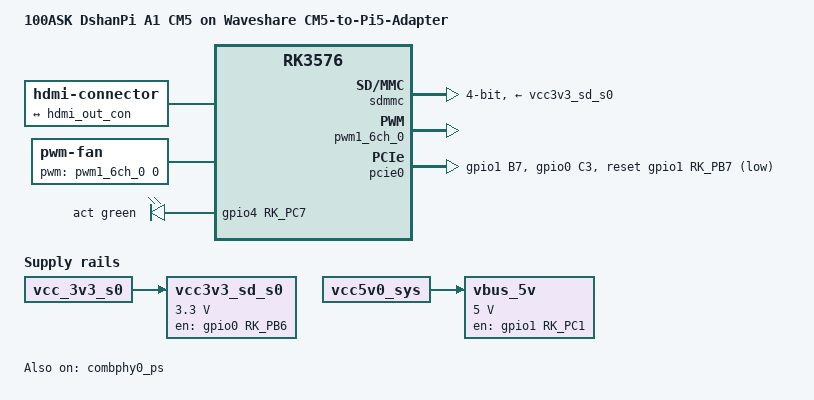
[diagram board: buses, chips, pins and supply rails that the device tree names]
// SPDX-License-Identifier: (GPL-2.0+ OR MIT)
/*
 * Copyright (c) 2026 sckiyo <sckiyo@outlook.com>
 *
 * 100ASK DshanPi A1 CM5 on the Waveshare CM5-to-Pi5-Adapter.
 * The DshanPi A1 CM5 is the core module. The Waveshare board is the carrier.
 * The module exposes three connectors, each numbered from 1.
 * CN1 and CN2 present the Raspberry Pi CM5 socket, positions 1-200.
 * CN1 holds positions 1-100. CN2 holds positions 101-200.
 * CN3 is a private module connector.
 * Some pins on CN1 and CN2 carry module lines that differ from the Raspberry Pi spec.
 *
 * The Type-C port has no PD controller and no CC pull-downs.
 * A C-to-C USB cable does not power the board.
 * Use a C-to-A USB cable or the 5 V pins on the 40-pin header.
 * The PSW button connects to CN1 pin 92.
 * The Raspberry Pi spec names pin 92 PWR_Button.
 * The module wires its reset input to that pin. The button resets the board.
 * PWRON_L is the power key line. PWRON_L sits on CN1 pin 99.
 * The Raspberry Pi spec puts PMIC_Enable on pin 99.
 * This carrier leaves pin 99 open, so the board has no power key.
 * The BOOT button pulls CN1 pin 93 low.
 * The Raspberry Pi spec names pin 93 nRPIBOOT, which is active low.
 * The module wires its active-high MASKROM input to that pin.
 * The BOOT button has no effect.
 * To enter Maskrom, run "systemctl reboot --reboot-argument=maskrom".
 * BootROM also enters Maskrom when it finds no valid boot media.
 * The carrier TF slot uses the module SDMMC0_PWREN line.
 * The RJ45 uses the on-module YT8521S PHY.
 * A CH334F USB 2.0 hub sits on the Raspberry Pi USB3-1 D+/D- pins.
 * The CH334F reset pin is not a SoC GPIO.
 * The hub feeds the lower USB 3.0 port, both USB 2.0 ports, and the audio codec.
 * The lower USB 3.0 port also uses the USB3-1 SuperSpeed pins.
 * The upper USB 3.0 port uses all the Raspberry Pi USB3-0 pins.
 * The module routes no USB to the USB3-0 pins, so the upper port stays dead.
 * GPIO1_C1 enables VBUS for the USB ports.
 * The module drives one HDMI port, on the Raspberry Pi HDMI0 pins.
 * The HDMI1 connector on this carrier has no HDMI signal.
 * The two 22-pin MIPI connectors carry the module CSI3 and DSI lanes.
 * The lanes align with the Raspberry Pi spec positions.
 * Camera and DSI support is untested, so this DT ships no nodes for them.
 * The headphone jack uses a USB audio codec on the hub.
 * This carrier wires no codec to the module audio pins.
 * The fan header PWM line is on CN1 pin 19.
 * The fan header tachometer line is on CN1 pin 16.
 * The module leaves pin 16 open.
 * A PCIe 2.0 connector uses PCIE0.
 * The activity LED is GPIO4_C7 on CN1 pin 21.
 */

/dts-v1/;

#include <dt-bindings/gpio/gpio.h>
#include <dt-bindings/leds/common.h>
#include <dt-bindings/pinctrl/rockchip.h>
#include "rk3576-dshanpi-a1-cm5.dtsi"

/ {
	model = "100ASK DshanPi A1 CM5 on Waveshare CM5-to-Pi5-Adapter";
	compatible = "waveshare,cm5-to-pi5-adapter",
		     "100ask,dshanpi-a1-cm5", "rockchip,rk3576";

	chosen {
		stdout-path = "serial0:1500000n8";
	};

	/* Micro HDMI on this carrier. Type "d" is the micro plug. */
	hdmi-con {
		compatible = "hdmi-connector";
		type = "d";

		port {
			hdmi_con_in: endpoint {
				remote-endpoint = <&hdmi_out_con>;
			};
		};
	};

	vcc3v3_sd_s0: regulator-vcc3v3-sd-s0 {
		compatible = "regulator-fixed";
		enable-active-high;
		gpio = <&gpio0 RK_PB6 GPIO_ACTIVE_HIGH>;
		pinctrl-names = "default";
		pinctrl-0 = <&sdmmc_pwr_en>;
		regulator-boot-on;
		regulator-min-microvolt = <3300000>;
		regulator-max-microvolt = <3300000>;
		regulator-name = "vcc3v3_sd_s0";
		vin-supply = <&vcc_3v3_s0>;
	};

	/*
	 * 4-pin fan on this carrier.
	 * PWM is CN1 pin 19, PWM1_CH0_M0 on GPIO0_B4.
	 * The carrier wires the line straight through. Use active-high PWM.
	 * Period is 40000 ns, so the PWM frequency is 25 kHz.
	 * Tachometer is CN1 pin 16. The module leaves that pin open, so Linux reads no fan speed.
	 */
	fan: pwm-fan {
		compatible = "pwm-fan";
		#cooling-cells = <2>;
		pwms = <&pwm1_6ch_0 0 40000 0>;
		cooling-levels = <0 100 150 200 255>;
	};

	/*
	 * Activity LED on CN1 pin 21, GPIO4_C7.
	 * A SN74LVC1G07 buffer follows the GPIO.
	 * A high GPIO turns the LED on.
	 */
	leds {
		compatible = "gpio-leds";
		pinctrl-names = "default";
		pinctrl-0 = <&act_led>;

		act {
			color = <LED_COLOR_ID_GREEN>;
			function = LED_FUNCTION_ACTIVITY;
			gpios = <&gpio4 RK_PC7 GPIO_ACTIVE_HIGH>;
			linux,default-trigger = "heartbeat";
		};
	};

	/*
	 * USB VBUS load switches U5 and U6. GPIO1_C1 enables both, active high.
	 * The module net name is TYPEC5V_PWREN_H.
	 * This carrier calls the same pin VBUS_EN.
	 * U5 and U6 feed VBUS on all four USB-A ports.
	 * Type-C VBUS ties directly to 5 V.
	 * Keep the regulator always on. Do not use it as a PHY supply.
	 * A PHY supply would switch all four ports together.
	 */
	vbus_5v: regulator-vbus-5v {
		compatible = "regulator-fixed";
		enable-active-high;
		gpio = <&gpio1 RK_PC1 GPIO_ACTIVE_HIGH>;
		pinctrl-names = "default";
		pinctrl-0 = <&usb_vbus_en>;
		regulator-always-on;
		regulator-boot-on;
		regulator-min-microvolt = <5000000>;
		regulator-max-microvolt = <5000000>;
		regulator-name = "vbus_5v";
		vin-supply = <&vcc5v0_sys>;
	};
};

&hdmi_out {
	hdmi_out_con: endpoint {
		remote-endpoint = <&hdmi_con_in>;
	};
};

&pinctrl {
	sdmmc {
		sdmmc_pwr_en: sdmmc-pwr-en {
			rockchip,pins = <0 RK_PB6 RK_FUNC_GPIO &pcfg_pull_none>;
		};
	};

	leds {
		act_led: act-led {
			rockchip,pins = <4 RK_PC7 RK_FUNC_GPIO &pcfg_pull_none>;
		};
	};

	usb {
		usb_vbus_en: usb-vbus-en {
			rockchip,pins = <1 RK_PC1 RK_FUNC_GPIO &pcfg_pull_none>;
		};
	};

	pcie {
		pcie0_perstn: pcie0-perstn {
			rockchip,pins = <1 RK_PB7 RK_FUNC_GPIO &pcfg_pull_up>;
		};

		/* WAKE# is open-drain. Hold it high. */
		pcie0_wake: pcie0-wake {
			rockchip,pins = <0 RK_PC3 RK_FUNC_GPIO &pcfg_pull_up>;
		};
	};
};

/*
 * CN1 pin 76 carries the module line SDMMC0_DET_H.
 * R143 (100K) on the module pulls pin 76 down.
 * Q11 on the module inverts pin 76 onto SDMMC0_DET_L, GPIO0_A7.
 * A high pin 76 drives the SoC pin low.
 * A low SoC pin selects SDMMC. A high SoC pin selects JTAG.
 * BootROM tries eMMC, then SDMMC0, then USB.
 * With pin 76 low, the BootROM skips the TF slot.
 * U-Boot and Linux see no card either.
 * An eMMC loader can still start.
 * TF boot needs pin 76 high. eMMC-only boot needs no change.
 * This carrier wires pin 76 only to the RTC battery pad.
 * Fit one source on that pad.
 * Use the RTC battery, a 10K pull-up to 3.3 V, or an external 3.3 V supply.
 * BootROM then uses the TF card when eMMC is absent or has no loader.
 * U-Boot then tries the TF card before eMMC.
 * A fitted source keeps pin 76 high.
 * An empty slot still looks present, and TF init then times out.
 * The timeout costs a short delay. Boot continues normally.
 * Nothing on the carrier or module charges the RTC battery.
 */
&sdmmc {
	bus-width = <4>;
	cap-sd-highspeed;
	disable-wp;
	max-frequency = <200000000>;
	no-mmc;
	no-sdio;
	sd-uhs-sdr104;
	pinctrl-0 = <&sdmmc0_clk &sdmmc0_cmd &sdmmc0_det &sdmmc0_bus4>;
	vmmc-supply = <&vcc3v3_sd_s0>;
	vqmmc-supply = <&vccio_sd_s0>;
	status = "okay";
};

/* PWM1 channel 0 drives GPIO0_B4 through the pwm1m0_ch0 pin group. */
&pwm1_6ch_0 {
	status = "okay";
};

/*
 * Raise the fan as the package warms.
 * Level 0 is off. Level 4 is full speed.
 */
&package_thermal {
	polling-delay = <1000>;

	trips {
		package_fan0: package-fan0 {
			temperature = <40000>;
			hysteresis = <2000>;
			type = "active";
		};

		package_fan1: package-fan1 {
			temperature = <55000>;
			hysteresis = <2000>;
			type = "active";
		};

		package_fan2: package-fan2 {
			temperature = <60000>;
			hysteresis = <2000>;
			type = "active";
		};

		package_fan3: package-fan3 {
			temperature = <65000>;
			hysteresis = <2000>;
			type = "active";
		};
	};

	cooling-maps {
		map-fan0 {
			trip = <&package_fan0>;
			cooling-device = <&fan 1 1>;
		};

		map-fan1 {
			trip = <&package_fan1>;
			cooling-device = <&fan 2 2>;
		};

		map-fan2 {
			trip = <&package_fan2>;
			cooling-device = <&fan 3 3>;
		};

		map-fan3 {
			trip = <&package_fan3>;
			cooling-device = <&fan 4 4>;
		};
	};
};

/*
 * PCIe 2.0 connector on this carrier.
 * CLKREQ is GPIO1_B6, pcie0m1. PERST is GPIO1_B7, active low.
 * WAKE is GPIO0_C3 and stays a pull-up.
 * The module ties PCIE_PWR_EN high, so slot power stays on.
 */
&combphy0_ps {
	status = "okay";
};

&pcie0 {
	pinctrl-names = "default";
	pinctrl-0 = <&pcie0m1_pins &pcie0_perstn &pcie0_wake>;
	reset-gpios = <&gpio1 RK_PB7 GPIO_ACTIVE_LOW>;
	status = "okay";
};
